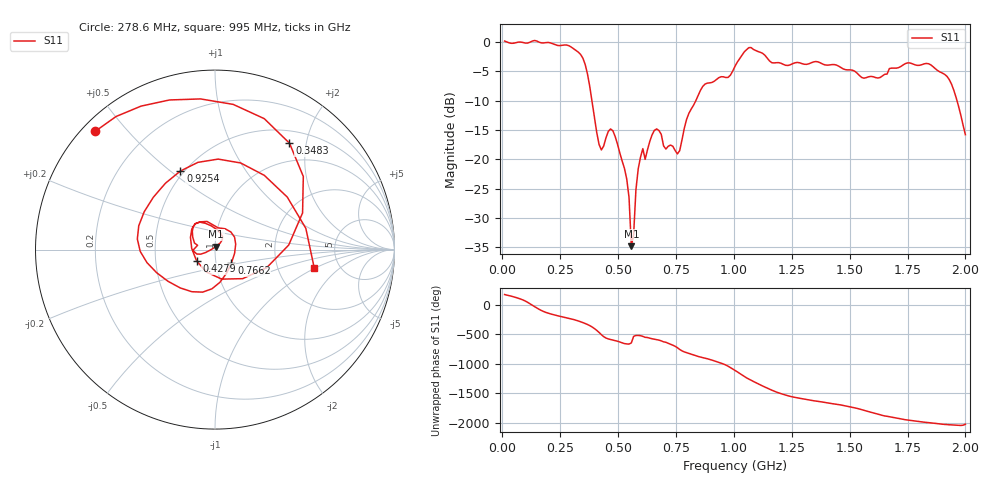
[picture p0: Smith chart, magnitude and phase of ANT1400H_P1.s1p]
!Created with skrf (http://scikit-rf.org).
# Hz S RI R 50.0
!freq ReS11 ImS11
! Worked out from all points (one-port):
!   201 points, 10 MHz to 2 GHz, reference 50 ohm
!   lowest |S11| = -34.8 dB at 557.2 MHz (marker M1), VSWR 1.04, Z = 50.6 + j1.74 ohm
!   |S11| at or under -10 dB: 386.9 MHz to 836 MHz (449.1 MHz wide, 73.4 % of centre); 1.964 GHz to end of sweep
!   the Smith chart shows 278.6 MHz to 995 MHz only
!   S11 on the Smith chart (normalised r, x): 278.6 MHz: 0.04, +0.41; 348.3 MHz: 0.69, +1.71; 427.9 MHz: 0.81, -0.10; 766.2 MHz: 1.19, -0.18; 925.4 MHz: 0.48, +0.54; 995 MHz: 3.25, -0.99
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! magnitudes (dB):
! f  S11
! 10 MHz  0.1
! 258.8 MHz  -0.6
! 278.6 MHz  -0.6
! 348.3 MHz  -2.8
! 427.9 MHz  -18.4
! 467.7 MHz  -14.8
! 507.5 MHz  -18.9
! 547.3 MHz  -26.5
! 557.2 MHz  -34.8
! 567.2 MHz  -32.8
! 577.1 MHz  -25.2
! 587.1 MHz  -21.6
! 607 MHz  -18.2
! 617 MHz  -20.0
! 666.7 MHz  -14.8
! 756.2 MHz  -19.1
! 766.2 MHz  -18.5
! 855.8 MHz  -8.3
! 925.4 MHz  -6.4
! 995 MHz  -5.0
! 1.005 GHz  -4.2
! 1.075 GHz  -1.0
! 1.254 GHz  -3.7
! 1.502 GHz  -4.8
! 1.622 GHz  -6.2
! 1.751 GHz  -3.6
! 1.92 GHz  -5.9
! 2 GHz  -15.8
